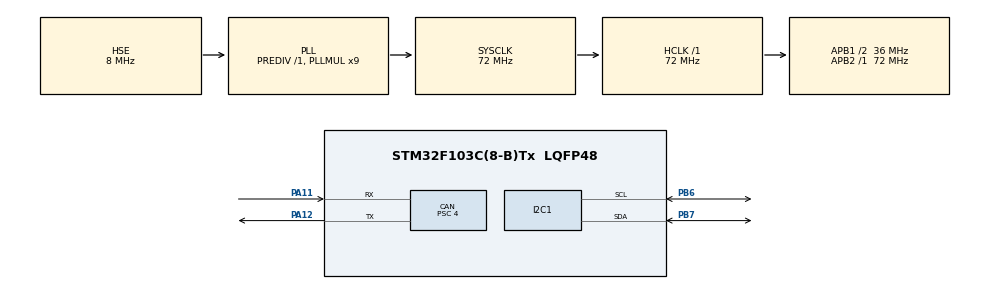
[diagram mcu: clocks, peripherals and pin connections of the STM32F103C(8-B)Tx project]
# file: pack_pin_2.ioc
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CAN.BS1=CAN_BS1_7TQ
CAN.CalculateBaudRate=1000000
CAN.CalculateTimeBit=1000
CAN.CalculateTimeQuantum=111.11111111111111
CAN.Prescaler=4
Mcu.Family=STM32F1
Mcu.Name=STM32F103C(8-B)Tx
Mcu.Package=LQFP48
NVIC.CAN1_RX1_IRQn=true\:0\:0\:false\:false\:true\:true\:true\:true
NVIC.CAN1_SCE_IRQn=true\:0\:0\:false\:false\:true\:true\:true\:true
NVIC.PriorityGroup=NVIC_PRIORITYGROUP_4
NVIC.USB_HP_CAN1_TX_IRQn=true\:0\:0\:false\:false\:true\:true\:true\:true
NVIC.USB_LP_CAN1_RX0_IRQn=true\:0\:0\:false\:false\:true\:true\:true\:true
PA11.GPIO_PuPd=GPIO_PULLUP
PA11.Mode=CAN_Activate
PA11.Signal=CAN_RX
PA12.Mode=CAN_Activate
PA12.Signal=CAN_TX
PA13.Mode=Serial_Wire
PA13.Signal=SYS_JTMS-SWDIO
PA14.Mode=Serial_Wire
PA14.Signal=SYS_JTCK-SWCLK
PB6.Mode=I2C
PB6.Signal=I2C1_SCL
PB7.Mode=I2C
PB7.Signal=I2C1_SDA
PD0-OSC_IN.Mode=HSE-External-Oscillator
PD0-OSC_IN.Signal=RCC_OSC_IN
PD1-OSC_OUT.Mode=HSE-External-Oscillator
PD1-OSC_OUT.Signal=RCC_OSC_OUT
ProjectManager.HeapSize=0x200
ProjectManager.StackSize=0x400
ProjectManager.TargetToolchain=MDK-ARM V5.32
RCC.AHBFreq_Value=72000000
RCC.APB1CLKDivider=RCC_HCLK_DIV2
RCC.APB1Freq_Value=36000000
RCC.APB1TimFreq_Value=72000000
RCC.APB2Freq_Value=72000000
RCC.APB2TimFreq_Value=72000000
RCC.HCLKFreq_Value=72000000
RCC.PLLMUL=RCC_PLL_MUL9
RCC.PLLSourceVirtual=RCC_PLLSOURCE_HSE
RCC.SYSCLKFreq_VALUE=72000000
RCC.SYSCLKSource=RCC_SYSCLKSOURCE_PLLCLK
RCC.USBFreq_Value=72000000
board=custom

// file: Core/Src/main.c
/* USER CODE BEGIN Header */
/**
  ******************************************************************************
  * @file           : main.c
  * @brief          : Main program body
  ******************************************************************************
  * @attention
  *
  * Copyright (c) 2025 STMicroelectronics.
  * All rights reserved.
  *
  * This software is licensed under terms that can be found in the LICENSE file
  * in the root directory of this software component.
  * If no LICENSE file comes with this software, it is provided AS-IS.
  *
  ******************************************************************************
  */
/* USER CODE END Header */
#include "main.h"

/* USER CODE BEGIN Includes */
#include "canard.h"
#include "canard_internals.h"
#include "string.h"
#include "uavcan.protocol.NodeStatus.h"
#include "uavcan.protocol.GetNodeInfo_res.h"
#include "uavcan.equipment.power.BatteryInfo.h"
#include "uavcan.protocol.SoftwareVersion.h"
#include "uavcan.protocol.HardwareVersion.h"
#include "stdlib.h"
#include "stdio.h"
#include "stdbool.h"
#include "string.h"
#include "bq40z50.h"
/* USER CODE END Includes */

CAN_HandleTypeDef hcan;

I2C_HandleTypeDef hi2c1;

/* USER CODE BEGIN PV */
uint8_t canard_memory_pool[1024];
CanardInstance canard;

uint8_t heartbeat_tid = 0;
uint8_t battery_tid = 0;

infor_bq40z50_t infor_pack;

HAL_StatusTypeDef status;
HAL_I2C_StateTypeDef statt;
/* USER CODE END PV */

void SystemClock_Config(void);
static void MX_GPIO_Init(void);
static void MX_CAN_Init(void);
static void MX_I2C1_Init(void);
/* USER CODE BEGIN PFP */

void HAL_CAN_RxFifo0MsgPendingCallback(CAN_HandleTypeDef *hcan)
{
    CAN_RxHeaderTypeDef rxHeader;
    uint8_t rxData[8];

    if (HAL_CAN_GetRxMessage(hcan, CAN_RX_FIFO0, &rxHeader, rxData) == HAL_OK) {
        CanardCANFrame frame;
        frame.id = rxHeader.ExtId;
        if (rxHeader.IDE == CAN_ID_EXT)
            frame.id |= (1UL << 31);

        frame.data_len = rxHeader.DLC;
        memcpy(frame.data, rxData, rxHeader.DLC);
        frame.iface_id = 0;

        canardHandleRxFrame(&canard, &frame, HAL_GetTick() * 1000ULL);
    }
}

/* USER CODE END PFP */

/* USER CODE BEGIN 0 */

bool should_accept(const CanardInstance* ins, uint64_t* out_sig, uint16_t data_type_id,
                   CanardTransferType transfer_type, uint8_t source_node_id)
{
if (data_type_id == UAVCAN_PROTOCOL_GETNODEINFO_RESPONSE_ID && transfer_type == CanardTransferTypeRequest)
		{
        *out_sig = UAVCAN_PROTOCOL_GETNODEINFO_RESPONSE_SIGNATURE;
        return true;
    }
    return false;
}
void on_reception(CanardInstance* ins, CanardRxTransfer* transfer)
{
	if (transfer->data_type_id == UAVCAN_PROTOCOL_GETNODEINFO_RESPONSE_ID &&
			transfer->transfer_type == CanardTransferTypeRequest)
	{
		struct uavcan_protocol_GetNodeInfoResponse resp;
		memset(&resp, 0, sizeof(resp));

		const char* node_name = "75";

		resp.status.uptime_sec = HAL_GetTick() / 1000;
		resp.status.health = UAVCAN_PROTOCOL_NODESTATUS_HEALTH_OK;
		resp.status.mode = UAVCAN_PROTOCOL_NODESTATUS_MODE_OPERATIONAL;
		resp.status.sub_mode = 0;
		resp.status.vendor_specific_status_code = 0;

		resp.software_version.major = 1;
		resp.software_version.minor = 0;
		resp.hardware_version.major = 1;
		resp.hardware_version.minor = 0;

		resp.name.len = strlen(node_name);
		memcpy(resp.name.data, node_name, resp.name.len);

		uint8_t buffer[UAVCAN_PROTOCOL_GETNODEINFO_RESPONSE_MAX_SIZE] = {0};
		uint32_t len = uavcan_protocol_GetNodeInfoResponse_encode(&resp, buffer);

		uint8_t tid = transfer->transfer_id;
		canardRequestOrRespond(ins,
				transfer->source_node_id,
				UAVCAN_PROTOCOL_GETNODEINFO_RESPONSE_SIGNATURE,
				UAVCAN_PROTOCOL_GETNODEINFO_RESPONSE_ID,
				&tid,
				CANARD_TRANSFER_PRIORITY_LOW,
				CanardResponse,
				buffer,
				len
		);
	}
}

void tx_frame(void)
{
	CanardCANFrame* txf = NULL;
	while ((txf = canardPeekTxQueue(&canard)) != NULL)
	{
			if (HAL_CAN_GetTxMailboxesFreeLevel(&hcan) > 0)
			{
				CAN_TxHeaderTypeDef txHeader;
				memset(&txHeader, 0, sizeof(txHeader));
				txHeader.IDE = CAN_ID_EXT;
				txHeader.ExtId = txf->id & 0x1FFFFFFF;
				txHeader.RTR = CAN_RTR_DATA;
				txHeader.DLC = txf->data_len;
				txHeader.TransmitGlobalTime = DISABLE;

				uint32_t txMailbox;
				if (HAL_CAN_AddTxMessage(&hcan, &txHeader, (uint8_t*)txf->data, &txMailbox) == HAL_OK)
				{
						canardPopTxQueue(&canard);
				}
				else
				{
						break;
				}
			}
			else
			{
					break;
			}
	}
	HAL_Delay(1);
}

void send_heartbeat(CanardInstance* ins, uint8_t* transfer_id)
{
    struct uavcan_protocol_NodeStatus status = {
        .uptime_sec = HAL_GetTick() / 1000,
        .health = UAVCAN_PROTOCOL_NODESTATUS_HEALTH_OK,
        .mode = UAVCAN_PROTOCOL_NODESTATUS_MODE_OPERATIONAL,
        .sub_mode = 0,
        .vendor_specific_status_code = 0
    };
    uint8_t buffer[UAVCAN_PROTOCOL_NODESTATUS_MAX_SIZE] = {0};
    uint32_t len = uavcan_protocol_NodeStatus_encode(&status, buffer);

    canardBroadcast(ins,
        UAVCAN_PROTOCOL_NODESTATUS_SIGNATURE,
        UAVCAN_PROTOCOL_NODESTATUS_ID,
        transfer_id,
CANARD_TRANSFER_PRIORITY_LOW,
        buffer,
        len
    );
}
void send_battery_info(void)
{
	struct uavcan_equipment_power_BatteryInfo msg = {0};
	const char* name = "hypmotion_pack_pin_2";
	msg.temperature =   infor_pack.temperature_celsius; // float
	msg.voltage = infor_pack.volt;      // float
	msg.current = infor_pack.current;           // float
	msg.state_of_charge_pct = infor_pack.soc;         // uint8_t (0-100)
	msg.state_of_health_pct = 100;
	msg.status_flags = 0;

	msg.model_name.len = strlen(name);
	memcpy(msg.model_name.data, name, msg.model_name.len);

	uint8_t buffer[UAVCAN_EQUIPMENT_POWER_BATTERYINFO_MAX_SIZE];
	uint32_t len = uavcan_equipment_power_BatteryInfo_encode(&msg, buffer);

	canardBroadcast(&canard,
		UAVCAN_EQUIPMENT_POWER_BATTERYINFO_SIGNATURE,
		UAVCAN_EQUIPMENT_POWER_BATTERYINFO_ID,
		&battery_tid,
		CANARD_TRANSFER_PRIORITY_LOW,
		buffer,
		len
	);
}
void filer_config(void)
{
	//------------filer-------------//
	CAN_FilterTypeDef sFilterConfig;
	sFilterConfig.FilterBank = 0;
	sFilterConfig.FilterMode = CAN_FILTERMODE_IDMASK;
	sFilterConfig.FilterScale = CAN_FILTERSCALE_32BIT;
	sFilterConfig.FilterIdHigh = 0;
	sFilterConfig.FilterIdLow  = 0;
	sFilterConfig.FilterMaskIdHigh = 0;
	sFilterConfig.FilterMaskIdLow  = 0;
	sFilterConfig.FilterFIFOAssignment = CAN_FILTER_FIFO0;
	sFilterConfig.FilterActivation = ENABLE;
	HAL_CAN_ConfigFilter(&hcan, &sFilterConfig);
}

/* USER CODE END 0 */

int main(void)
{

  /* MCU Configuration--------------------------------------------------------*/

  /* Reset of all peripherals, Initializes the Flash interface and the Systick. */
  HAL_Init();

  /* Configure the system clock */
  SystemClock_Config();

  /* Initialize all configured peripherals */
  MX_GPIO_Init();
  MX_CAN_Init();
  MX_I2C1_Init();
  /* USER CODE BEGIN 2 */
	HAL_CAN_Start(&hcan);
	HAL_CAN_ActivateNotification(&hcan, CAN_IT_RX_FIFO0_MSG_PENDING);
	canardInit(&canard,
           canard_memory_pool,
           sizeof(canard_memory_pool),
           on_reception,
           should_accept,
           NULL);
	canardSetLocalNodeID(&canard, 12);
	filer_config();
	BQ40Z50_Init(&hi2c1);
  /* USER CODE END 2 */

  /* Infinite loop */
  /* USER CODE BEGIN WHILE */
  while (1)
  {
		statt = HAL_I2C_GetState(&hi2c1);
		tx_frame();
		status = BQ40Z50_ReadAll(&infor_pack);
		static uint32_t last_hb = 0;
		if(HAL_GetTick() - last_hb >= 1000)
		{
			send_heartbeat(&canard, &heartbeat_tid);
			last_hb = HAL_GetTick();
		}
		static uint32_t last_batt = 0;
		if (HAL_GetTick() - last_batt >= 100)
		{
			send_battery_info();
			last_batt = HAL_GetTick();
		}
    /* USER CODE END WHILE */

  }
}

void SystemClock_Config(void)
{
  RCC_OscInitTypeDef RCC_OscInitStruct = {0};
  RCC_ClkInitTypeDef RCC_ClkInitStruct = {0};

  /** Initializes the RCC Oscillators according to the specified parameters
  * in the RCC_OscInitTypeDef structure.
  */
  RCC_OscInitStruct.OscillatorType = RCC_OSCILLATORTYPE_HSE;
  RCC_OscInitStruct.HSEState = RCC_HSE_ON;
  RCC_OscInitStruct.HSEPredivValue = RCC_HSE_PREDIV_DIV1;
  RCC_OscInitStruct.HSIState = RCC_HSI_ON;
  RCC_OscInitStruct.PLL.PLLState = RCC_PLL_ON;
  RCC_OscInitStruct.PLL.PLLSource = RCC_PLLSOURCE_HSE;
  RCC_OscInitStruct.PLL.PLLMUL = RCC_PLL_MUL9;
  if (HAL_RCC_OscConfig(&RCC_OscInitStruct) != HAL_OK)
  {
    Error_Handler();
  }

  /** Initializes the CPU, AHB and APB buses clocks
  */
  RCC_ClkInitStruct.ClockType = RCC_CLOCKTYPE_HCLK|RCC_CLOCKTYPE_SYSCLK
                              |RCC_CLOCKTYPE_PCLK1|RCC_CLOCKTYPE_PCLK2;
  RCC_ClkInitStruct.SYSCLKSource = RCC_SYSCLKSOURCE_PLLCLK;
  RCC_ClkInitStruct.AHBCLKDivider = RCC_SYSCLK_DIV1;
  RCC_ClkInitStruct.APB1CLKDivider = RCC_HCLK_DIV2;
  RCC_ClkInitStruct.APB2CLKDivider = RCC_HCLK_DIV1;

  if (HAL_RCC_ClockConfig(&RCC_ClkInitStruct, FLASH_LATENCY_2) != HAL_OK)
  {
    Error_Handler();
  }
}

static void MX_CAN_Init(void)
{

  hcan.Instance = CAN1;
  hcan.Init.Prescaler = 4;
  hcan.Init.Mode = CAN_MODE_NORMAL;
  hcan.Init.SyncJumpWidth = CAN_SJW_1TQ;
  hcan.Init.TimeSeg1 = CAN_BS1_7TQ;
  hcan.Init.TimeSeg2 = CAN_BS2_1TQ;
  hcan.Init.TimeTriggeredMode = DISABLE;
  hcan.Init.AutoBusOff = DISABLE;
  hcan.Init.AutoWakeUp = DISABLE;
  hcan.Init.AutoRetransmission = DISABLE;
  hcan.Init.ReceiveFifoLocked = DISABLE;
  hcan.Init.TransmitFifoPriority = DISABLE;
  if (HAL_CAN_Init(&hcan) != HAL_OK)
  {
    Error_Handler();
  }

}

static void MX_I2C1_Init(void)
{

  hi2c1.Instance = I2C1;
  hi2c1.Init.ClockSpeed = 100000;
  hi2c1.Init.DutyCycle = I2C_DUTYCYCLE_2;
  hi2c1.Init.OwnAddress1 = 0;
  hi2c1.Init.AddressingMode = I2C_ADDRESSINGMODE_7BIT;
  hi2c1.Init.DualAddressMode = I2C_DUALADDRESS_DISABLE;
  hi2c1.Init.OwnAddress2 = 0;
  hi2c1.Init.GeneralCallMode = I2C_GENERALCALL_DISABLE;
  hi2c1.Init.NoStretchMode = I2C_NOSTRETCH_DISABLE;
  if (HAL_I2C_Init(&hi2c1) != HAL_OK)
  {
    Error_Handler();
  }

}

static void MX_GPIO_Init(void)
{

  /* GPIO Ports Clock Enable */
  __HAL_RCC_GPIOD_CLK_ENABLE();
  __HAL_RCC_GPIOA_CLK_ENABLE();
  __HAL_RCC_GPIOB_CLK_ENABLE();

}

void Error_Handler(void)
{
  __disable_irq();
  while (1)
  {
  }
}
